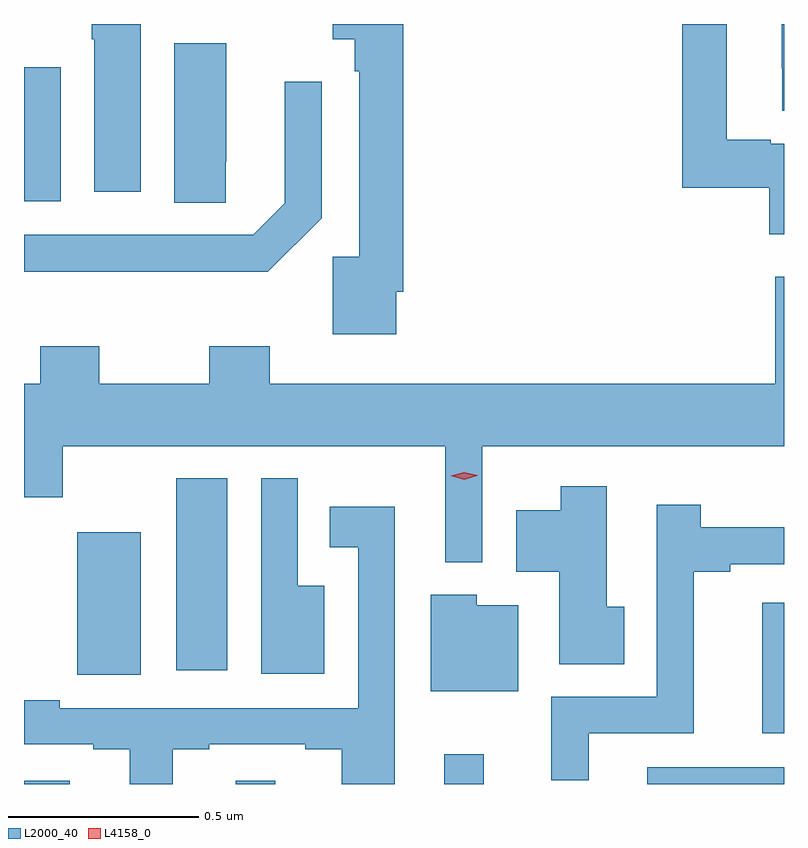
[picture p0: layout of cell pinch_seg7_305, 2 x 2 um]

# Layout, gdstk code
import gdstk
lib = gdstk.Library(unit=1e-6, precision=1e-09)
def R(c, l, rs):  # rectangles x0, y0, x1, y1
    for r in rs: c.add(gdstk.rectangle(r[:2], r[2:], *l))
def P(c, l, *ps):  # polygons
    for p in ps: c.add(gdstk.Polygon(p, *l))
L2000_40 = (2000, 40)
L4158_0 = (4158, 0)

pinch_seg7_305 = lib.new_cell('pinch_seg7_305')
R(pinch_seg7_305, L2000_40, [(513.273,1050.343,513.394,1050.352), (513.83,1050.343,513.934,1050.352), (514.379,1050.343,514.483,1050.421), (514.913,1050.343,515.273,1050.387), (515.216,1050.476,515.273,1050.82), (513.413,1050.63,513.58,1051.006), (513.674,1050.642,513.808,1051.147), (513.273,1051.877,513.37,1052.229)])
P(pinch_seg7_305, L2000_40, [(515.273,1052.028),(515.238,1052.028),(515.238,1052.039),(515.122,1052.039),(515.122,1052.343),(515.005,1052.343),(515.005,1051.912),(515.234,1051.912),(515.234,1051.79),(515.273,1051.79)],
  [(514.252,1051.639),(514.271,1051.639),(514.271,1052.343),(514.085,1052.343),(514.085,1052.303),(514.143,1052.303),(514.143,1052.219),(514.155,1052.219),(514.155,1051.731),(514.086,1051.731),(514.086,1051.527),(514.252,1051.527)],
  [(515.273,1052.343),(515.267,1052.343),(515.267,1052.227),(515.268,1052.227),(515.268,1052.115),(515.273,1052.115)],
  [(513.58,1052.343),(513.451,1052.343),(513.451,1052.303),(513.458,1052.303),(513.458,1051.902),(513.58,1051.902)],
  [(513.804,1051.981),(513.805,1051.981),(513.805,1052.292),(513.668,1052.292),(513.668,1051.873),(513.804,1051.873)],
  [(514.056,1051.832),(514.056,1052.191),(513.959,1052.191),(513.959,1051.871),(513.876,1051.788),(513.273,1051.788),(513.273,1051.691),(513.915,1051.691)],
  [(514.479,1051.232),(515.273,1051.232),(515.273,1051.678),(515.25,1051.678),(515.25,1051.396),(513.92,1051.396),(513.92,1051.495),(513.76,1051.495),(513.76,1051.396),(513.471,1051.396),(513.471,1051.495),(513.316,1051.495),(513.316,1051.396),(513.273,1051.396),(513.273,1051.098),(513.375,1051.098),(513.375,1051.232),(514.382,1051.232),(514.382,1050.926),(514.479,1050.926)],
  [(514.063,1050.865),(513.993,1050.865),(513.993,1051.147),(513.897,1051.147),(513.897,1050.633),(514.063,1050.633)],
  [(514.853,1050.81),(514.807,1050.81),(514.807,1051.126),(514.685,1051.126),(514.685,1051.063),(514.568,1051.063),(514.568,1050.902),(514.682,1050.902),(514.682,1050.658),(514.853,1050.658)],
  [(514.759,1050.477),(515.036,1050.477),(515.036,1050.901),(515.131,1050.901),(515.131,1050.921),(515.273,1050.921),(515.273,1051.019),(515.054,1051.019),(515.054,1051.078),(514.938,1051.078),(514.938,1050.573),(514.661,1050.573),(514.661,1050.353),(514.759,1050.353)],
  [(513.664,1050.435),(513.76,1050.435),(513.76,1050.447),(514.013,1050.447),(514.013,1050.435),(514.109,1050.435),(514.109,1050.343),(514.249,1050.343),(514.249,1050.54),(514.248,1050.54),(514.248,1051.072),(514.078,1051.072),(514.078,1050.966),(514.152,1050.966),(514.152,1050.543),(513.367,1050.543),(513.367,1050.563),(513.273,1050.563),(513.273,1050.447),(513.455,1050.447),(513.455,1050.435),(513.551,1050.435),(513.551,1050.343),(513.664,1050.343)],
  [(514.573,1050.814),(514.464,1050.814),(514.464,1050.841),(514.343,1050.841),(514.343,1050.587),(514.573,1050.587)])
P(pinch_seg7_305, L4158_0, [(514.431,1051.144),(514.396,1051.154),(514.395,1051.154),(514.396,1051.154),(514.431,1051.164),(514.466,1051.155),(514.466,1051.154),(514.466,1051.154)])

lib.write_gds('pinch_seg7_305.gds')
